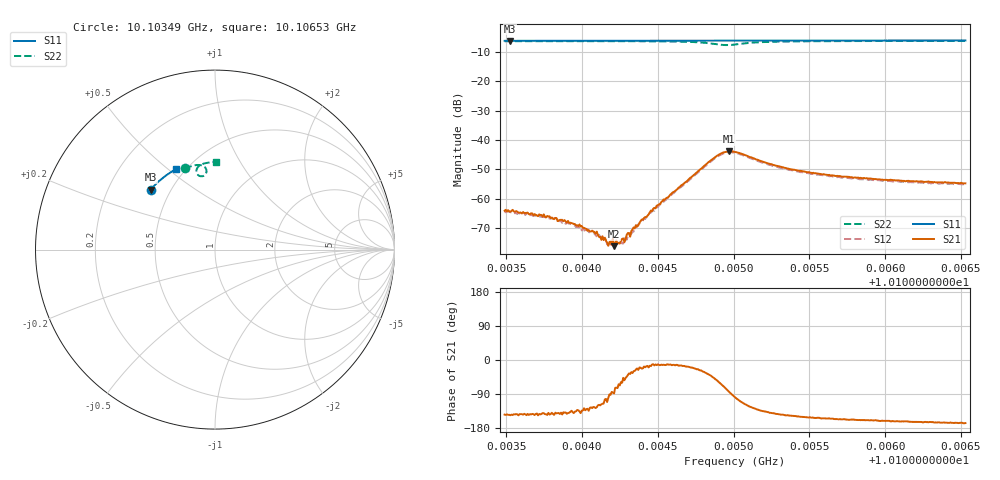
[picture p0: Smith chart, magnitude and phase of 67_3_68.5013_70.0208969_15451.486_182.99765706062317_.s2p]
#  HZ  S  RI  R  50.00
! Rohde & Schwarz Vector Network Analyzer
! Rohde-Schwarz,ZNB20-2Port,1311601062101988,3.16
! Created: UTC 3/20/2024, 4:51:36 PM
! freq[Hz]  re:S11  im:S11  re:S21  im:S21  re:S12  im:S12  re:S22  im:S22
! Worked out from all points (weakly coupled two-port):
!   401 points, 10.10349 GHz to 10.10653 GHz, reference 50 ohm
!   highest |S21| = -43.87 dB at 10.10497 GHz (marker M1); lowest = -76.2 dB at 10.10421 GHz (marker M2)
!   lowest |S11| = -6.2 dB at 10.10353 GHz (marker M3), VSWR 2.92, Z = 19.4 + j17.1 ohm
!   |S11| at or under -10 dB: nowhere
!   |S22| runs from -7.6 to -6.2 dB; largest |S21 - S12| = 0.00063
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1.010349e10  -0.3593 0.333  -0.000503 -0.000365  -0.000426 -0.000393  -0.1681 0.4519
1.0103527e10  -0.3576 0.3347  -0.000493 -0.000336  -0.000446 -0.000382  -0.1657 0.4529
1.0103733e10  -0.3494 0.3442  -0.000416 -0.00032  -0.00036 -0.000331  -0.1522 0.4581
1.0103809e10  -0.3463 0.3476  -0.000359 -0.000281  -0.000302 -0.00034  -0.1474 0.46
1.0103999e10  -0.3384 0.356  -0.000235 -0.000247  -0.000168 -0.000232  -0.1341 0.4641
1.0104082e10  -0.3348 0.3597  -0.000154 -0.000222  -0.000124 -0.000219  -0.1279 0.4659
1.0104128e10  -0.3329 0.3617  -8.98e-05 -0.000177  -7.37e-05 -0.000212  -0.1247 0.4667
1.0104181e10  -0.3306 0.3639  -2.63e-06 -0.000183  -9.43e-06 -0.000166  -0.1206 0.4678
1.0104211e10  -0.3293 0.3652  4.68e-06 -0.000154  2.9e-05 -0.000165  -0.1182 0.4683
1.0104227e10  -0.3286 0.3659  5.67e-05 -0.000186  5.25e-05 -0.000162  -0.1171 0.4685
1.0104242e10  -0.328 0.3664  7.73e-05 -0.000159  9.33e-05 -0.000162  -0.1158 0.4689
1.010428e10  -0.3263 0.3682  0.000108 -0.000145  0.000145 -0.000152  -0.1127 0.4695
1.0104379e10  -0.3221 0.3723  0.000362 -0.000131  0.000361 -0.000112  -0.1042 0.4707
1.0104508e10  -0.3162 0.3776  0.000777 -0.00018  0.000767 -9.26e-05  -0.0916 0.4717
1.0104873e10  -0.2992 0.3921  0.00333 -0.00371  0.00348 -0.00328  -0.0477 0.4315
1.0104926e10  -0.2968 0.394  0.00241 -0.00552  0.00277 -0.00508  -0.059 0.4138
1.0104971e10  -0.2948 0.3954  0.0006 -0.00637  0.00114 -0.00605  -0.0778 0.4086
1.0105009e10  -0.2932 0.397  -0.000911 -0.00621  -0.000377 -0.006  -0.0922 0.4141
1.0105268e10  -0.281 0.4068  -0.00288 -0.00235  -0.00255 -0.00249  -0.0902 0.4649
1.0105519e10  -0.2687 0.4158  -0.00241 -0.00129  -0.00221 -0.00142  -0.067 0.4775
1.0106028e10  -0.2429 0.4329  -0.00196 -0.000689  -0.00184 -0.000808  -0.028 0.4862
1.0106529e10  -0.2164 0.448  -0.00177 -0.000428  -0.00167 -0.000557  0.00659 0.4889
